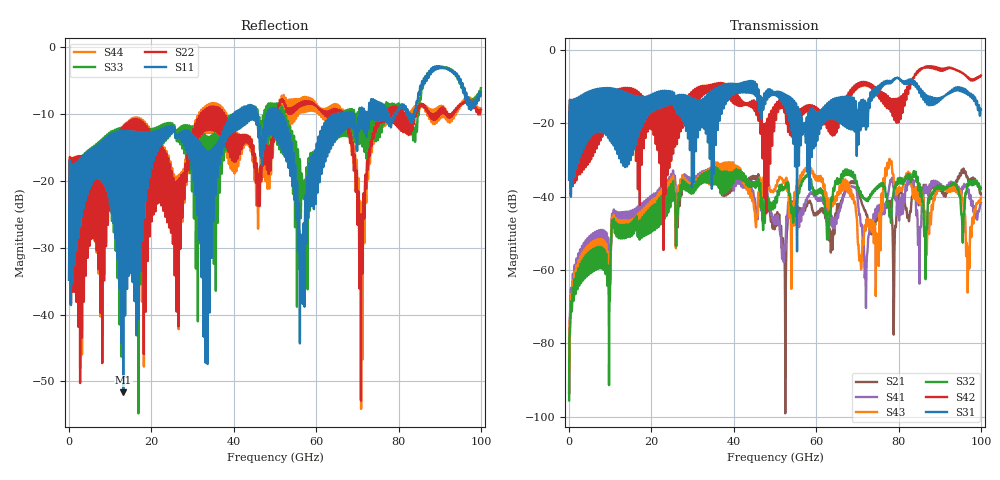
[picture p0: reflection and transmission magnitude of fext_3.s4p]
# Hz S RI R 50
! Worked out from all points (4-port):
!   10000 points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, 10 MHz to 100 GHz, reference 50 ohm
!   strongest paths, dB at 10 MHz, 25.01 GHz, 50.01 GHz, 75.01 GHz, 100 GHz:
!     S31: -35.4, -11.4, -11.5, -10.0, -16.2
!     S42: -35.3, -14.4, -15.0, -11.9, -7.0
!     S32: -95.6, -41.3, -42.8, -37.3, -37.8
!     S43: -93.5, -39.0, -38.4, -52.7, -40.3
!     S41: -91.8, -37.3, -47.1, -44.3, -41.7
!     S21: -93.7, -39.0, -46.6, -45.1, -39.4
!   lowest |S11| = -51.6 dB at 13.16 GHz (marker M1), VSWR 1.01, Z = 49.8 + j0.184 ohm
!   |S11| at or under -10 dB: start of sweep to 40.15 GHz; 45.77 GHz to 47.96 GHz (2.195 GHz wide, 4.68 % of centre); 51.7 GHz to 64.72 GHz (13.02 GHz wide, 22.4 % of centre)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
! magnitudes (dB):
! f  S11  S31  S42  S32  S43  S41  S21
! 10 MHz  -34.8  -35.4  -35.3  -95.6  -93.5  -91.8  -93.7
! 13.16 GHz  -51.6  -25.5  -11.4  -47.7  -46.5  -44.2  -45.7
! 49.84 GHz  -9.1  -12.3  -19.3  -42.2  -38.2  -47.0  -48.7
! 56.44 GHz  -34.7  -18.7  -18.0  -36.4  -34.5  -44.9  -43.9
! 70.88 GHz  -11.9  -14.9  -9.9  -39.6  -59.8  -48.0  -41.0
! 77.78 GHz  -11.4  -8.5  -14.0  -45.4  -29.8  -37.1  -41.6
! 100 GHz  -6.7  -16.2  -7.0  -37.8  -40.3  -41.7  -39.4
